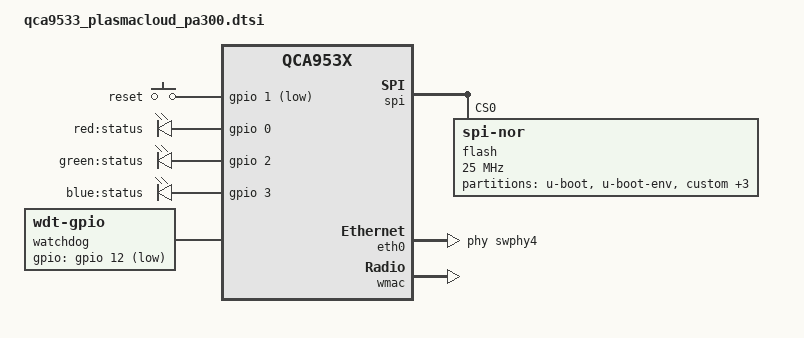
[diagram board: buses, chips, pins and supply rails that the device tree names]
// SPDX-License-Identifier: GPL-2.0-or-later OR MIT

#include "qca953x.dtsi"

#include <dt-bindings/gpio/gpio.h>
#include <dt-bindings/input/input.h>

/ {
	chosen {
		/delete-property/ bootargs;
	};

	aliases {
		led-boot = &led_status_green;
		led-failsafe = &led_status_green;
		led-running = &led_status_green;
		led-upgrade = &led_status_green;
		label-mac-device = &eth0;
	};

	keys {
		compatible = "gpio-keys";

		pinctrl-names = "default";

		reset {
			label = "reset";
			linux,code = <KEY_RESTART>;
			gpios = <&gpio 1 GPIO_ACTIVE_LOW>;
		};
	};

	leds {
		compatible = "gpio-leds";

		status_red {
			label = "red:status";
			gpios = <&gpio 0 GPIO_ACTIVE_HIGH>;
		};

		led_status_green: status_green {
			label = "green:status";
			gpios = <&gpio 2 GPIO_ACTIVE_HIGH>;
		};

		status_blue {
			label = "blue:status";
			gpios = <&gpio 3 GPIO_ACTIVE_HIGH>;
		};
	};

	watchdog {
		compatible = "linux,wdt-gpio";
		gpios = <&gpio 12 GPIO_ACTIVE_LOW>;
		hw_algo = "toggle";
		/* hw_margin_ms is actually 300s but driver limits it to 60s */
		hw_margin_ms = <60000>;
		always-running;
	};
};

&spi {
	status = "okay";

	flash@0 {
		compatible = "jedec,spi-nor";
		reg = <0>;
		spi-max-frequency = <25000000>;

		/* partitions are passed via bootloader */
		partitions {
			compatible = "fixed-partitions";
			#address-cells = <1>;
			#size-cells = <1>;

			partition@0 {
				label = "u-boot";
				reg = <0x000000 0x040000>;
				read-only;
			};

			partition@40000 {
				label = "u-boot-env";
				reg = <0x040000 0x040000>;
			};

			partition@80000 {
				label = "custom";
				reg = <0x080000 0x140000>;
				read-only;
			};

			partition@1c0000 {
				label = "inactive";
				reg = <0x1c0000 0x700000>;
			};

			partition@8c0000 {
				label = "inactive2";
				reg = <0x8c0000 0x700000>;
			};

			art: partition@fc0000 {
				label = "ART";
				reg = <0xfc0000 0x040000>;
				read-only;
			};
		};
	};
};

&eth0 {
	status = "okay";

	phy-handle = <&swphy4>;

	nvmem-cells = <&macaddr_art_0>;
	nvmem-cell-names = "mac-address";
};

&eth1 {
	/* Workaround: keep the Ethernet interfaces order/mapping correct
	 * (GMAC0 -> eth0, GMAC1 -> eth1, same as in old ar71xx target)
	 */
	compatible = "qca,qca9530-eth", "syscon", "simple-mfd";

	nvmem-cells = <&macaddr_art_0>;
	nvmem-cell-names = "mac-address";
	mac-address-increment = <1>;
};

&wmac {
	status = "okay";

	mtd-cal-data = <&art 0x1000>;
	nvmem-cells = <&macaddr_art_0>;
	nvmem-cell-names = "mac-address";
	mac-address-increment = <2>;
};

&art {
	compatible = "nvmem-cells";
	#address-cells = <1>;
	#size-cells = <1>;

	macaddr_art_0: macaddr@0 {
		reg = <0x0 0x6>;
	};
};
